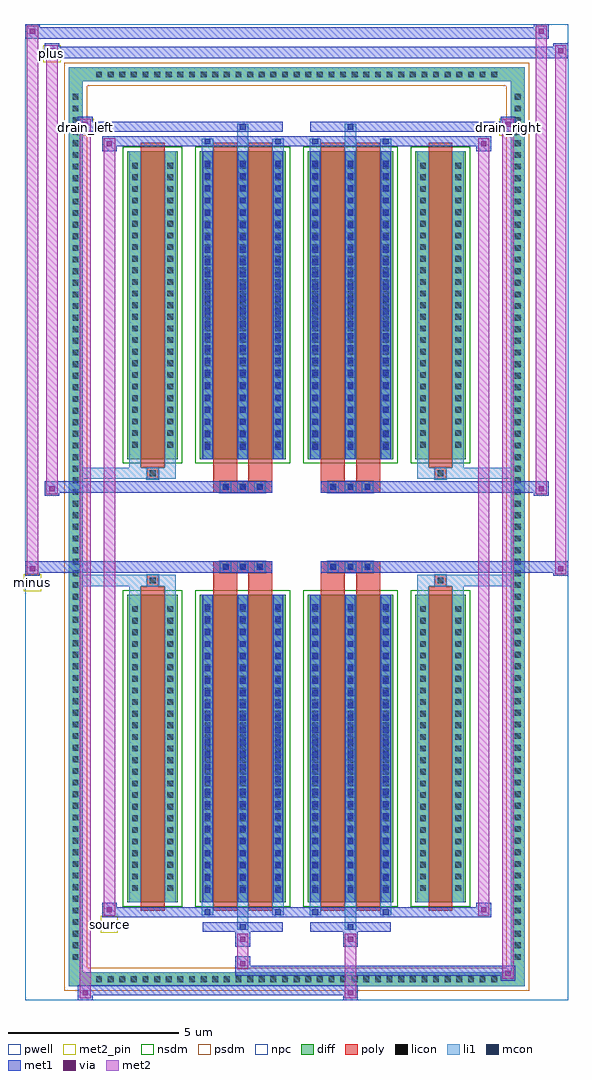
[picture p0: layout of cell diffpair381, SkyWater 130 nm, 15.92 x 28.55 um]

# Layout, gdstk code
import gdstk
lib = gdstk.Library(unit=1e-6, precision=5e-09)
def R(c, l, rs):  # rectangles x0, y0, x1, y1
    for r in rs: c.add(gdstk.rectangle(r[:2], r[2:], *l))
def A(c, l, x, y, w, h, nx, ny, dx, dy):  # array of equal rectangles
    R(c, l, [(x+i*dx, y+j*dy, x+i*dx+w, y+j*dy+h) for i in range(nx) for j in range(ny)])
def P(c, l, *ps):  # polygons
    for p in ps: c.add(gdstk.Polygon(p, *l))
pwell = (64, 44)
diff = (65, 20)
poly = (66, 20)
licon = (66, 44)
li1 = (67, 20)
mcon = (67, 44)
met1 = (68, 20)
via = (68, 44)
met2_pin = (69, 16)
met2 = (69, 20)
nsdm = (93, 44)
psdm = (94, 20)
npc = (95, 20)

diffpair381 = lib.new_cell('diffpair381')
R(diffpair381, pwell, [(-7.94,-13.84,7.94,14.71), (-5.26,-12.03,-0.01,-0.805), (0.01,-12.03,5.26,-0.805), (-5.26,0.805,-0.01,12.03), (0.01,0.805,5.26,12.03)])
A(diffpair381, diff, -5.985, -13.44, 0.41, 0.41, 35, 2, 0.34, 26.47)
A(diffpair381, diff, -6.67, -12.785, 0.41, 0.41, 1, 75, 0, 0.34)
A(diffpair381, diff, 6.26, -12.785, 0.41, 0.41, 1, 75, 0, 0.34)
R(diffpair381, diff, [(-5.985,-13.44,5.985,-13.03), (-6.67,-12.785,-6.26,12.785), (6.26,-12.785,6.67,12.785), (-4.95,-10.985,-3.47,-1.985), (-2.83,-10.985,-0.32,-1.985), (0.32,-10.985,2.83,-1.985), (3.47,-10.985,4.95,-1.985), (-4.95,1.985,-3.47,10.985), (-2.83,1.985,-0.32,10.985), (0.32,1.985,2.83,10.985), (3.47,1.985,4.95,10.985), (-5.985,13.03,5.985,13.44)])
P(diffpair381, diff, [(6.67,13.44),(-6.67,13.44),(-6.67,-13.03),(-6.26,-13.03),(-6.26,13.03),(6.26,13.03),(6.26,-13.03),(-6.26,-13.03),(-6.67,-13.03),(-6.67,-13.44),(6.67,-13.44)])
A(diffpair381, poly, -2.24, -1.335, 0.33, 0.33, 3, 2, 0.5, 2.34)
A(diffpair381, poly, 0.91, -1.335, 0.33, 0.33, 3, 2, 0.5, 2.34)
R(diffpair381, poly, [(-4.56,-11.235,-3.86,-1.735), (-2.44,-11.235,-1.74,-1.735), (-1.41,-11.235,-0.71,-1.735), (0.71,-11.235,1.41,-1.735), (1.74,-11.235,2.44,-1.735), (3.86,-11.235,4.56,-1.735), (-4.375,-1.735,-4.045,-1.405), (-4.375,-1.735,-4.045,-1.405), (-2.44,-1.735,-1.74,-1.335), (-1.41,-1.735,-0.71,-1.335), (0.71,-1.735,1.41,-1.335), (1.74,-1.735,2.44,-1.335), (4.045,-1.735,4.375,-1.405), (4.045,-1.735,4.375,-1.405), (-2.44,-1.335,-0.71,-1.005), (0.71,-1.335,2.44,-1.005), (-2.44,1.005,-0.71,1.335), (0.71,1.005,2.44,1.335), (-2.44,1.335,-1.74,1.735), (-1.41,1.335,-0.71,1.735), (0.71,1.335,1.41,1.735), (1.74,1.335,2.44,1.735), (-4.375,1.405,-4.045,1.735), (-4.375,1.405,-4.045,1.735), (4.045,1.405,4.375,1.735), (4.045,1.405,4.375,1.735), (-4.56,1.735,-3.86,11.235), (-2.44,1.735,-1.74,11.235), (-1.41,1.735,-0.71,11.235), (0.71,1.735,1.41,11.235), (1.74,1.735,2.44,11.235), (3.86,1.735,4.56,11.235)])
A(diffpair381, licon, -5.865, -13.32, 0.17, 0.17, 35, 2, 0.34, 26.47)
A(diffpair381, licon, -6.55, -12.665, 0.17, 0.17, 1, 75, 0, 0.34)
A(diffpair381, licon, 6.38, -12.665, 0.17, 0.17, 1, 75, 0, 0.34)
A(diffpair381, licon, -4.81, -10.65, 0.17, 0.17, 1, 25, 0, 0.34)
A(diffpair381, licon, -3.78, -10.65, 0.17, 0.17, 1, 25, 0, 0.34)
A(diffpair381, licon, -2.69, -10.65, 0.17, 0.17, 3, 25, 1.03, 0.34)
A(diffpair381, licon, 0.46, -10.65, 0.17, 0.17, 3, 25, 1.03, 0.34)
A(diffpair381, licon, 3.61, -10.65, 0.17, 0.17, 1, 25, 0, 0.34)
A(diffpair381, licon, 4.64, -10.65, 0.17, 0.17, 1, 25, 0, 0.34)
A(diffpair381, licon, -2.16, -1.255, 0.17, 0.17, 3, 2, 0.5, 2.34)
A(diffpair381, licon, 0.99, -1.255, 0.17, 0.17, 3, 2, 0.5, 2.34)
A(diffpair381, licon, -4.81, 2.32, 0.17, 0.17, 1, 25, 0, 0.34)
A(diffpair381, licon, -3.78, 2.32, 0.17, 0.17, 1, 25, 0, 0.34)
A(diffpair381, licon, -2.69, 2.32, 0.17, 0.17, 3, 25, 1.03, 0.34)
A(diffpair381, licon, 0.46, 2.32, 0.17, 0.17, 3, 25, 1.03, 0.34)
A(diffpair381, licon, 3.61, 2.32, 0.17, 0.17, 1, 25, 0, 0.34)
A(diffpair381, licon, 4.64, 2.32, 0.17, 0.17, 1, 25, 0, 0.34)
R(diffpair381, licon, [(-4.295,-1.655,-4.125,-1.485), (4.125,-1.655,4.295,-1.485), (-4.295,1.485,-4.125,1.655), (4.125,1.485,4.295,1.655)])
A(diffpair381, li1, -5.945, -13.4, 0.33, 0.33, 35, 2, 0.34, 26.47)
A(diffpair381, li1, -6.63, -12.745, 0.33, 0.33, 1, 75, 0, 0.34)
A(diffpair381, li1, 6.3, -12.745, 0.33, 0.33, 1, 75, 0, 0.34)
A(diffpair381, li1, -2.77, -10.985, 0.33, 9, 3, 2, 1.03, 12.97)
A(diffpair381, li1, 0.38, -10.985, 0.33, 9, 3, 2, 1.03, 12.97)
A(diffpair381, li1, -4.89, -10.73, 0.33, 0.33, 1, 25, 0, 0.34)
A(diffpair381, li1, -3.86, -10.73, 0.33, 0.33, 1, 25, 0, 0.34)
A(diffpair381, li1, -2.77, -10.73, 0.33, 0.33, 3, 25, 1.03, 0.34)
A(diffpair381, li1, 0.38, -10.73, 0.33, 0.33, 3, 25, 1.03, 0.34)
A(diffpair381, li1, 3.53, -10.73, 0.33, 0.33, 1, 25, 0, 0.34)
A(diffpair381, li1, 4.56, -10.73, 0.33, 0.33, 1, 25, 0, 0.34)
A(diffpair381, li1, -2.69, -10.71, 0.17, 0.17, 3, 24, 1.03, 0.36)
A(diffpair381, li1, -2.69, -10.71, 0.17, 8.45, 3, 2, 1.03, 12.97)
A(diffpair381, li1, 0.46, -10.71, 0.17, 0.17, 3, 24, 1.03, 0.36)
A(diffpair381, li1, 0.46, -10.71, 0.17, 8.45, 3, 2, 1.03, 12.97)
A(diffpair381, li1, -2.24, -1.335, 0.33, 0.33, 3, 2, 0.5, 2.34)
A(diffpair381, li1, 0.91, -1.335, 0.33, 0.33, 3, 2, 0.5, 2.34)
A(diffpair381, li1, -4.89, 2.24, 0.33, 0.33, 1, 25, 0, 0.34)
A(diffpair381, li1, -3.86, 2.24, 0.33, 0.33, 1, 25, 0, 0.34)
A(diffpair381, li1, -2.77, 2.24, 0.33, 0.33, 3, 25, 1.03, 0.34)
A(diffpair381, li1, 0.38, 2.24, 0.33, 0.33, 3, 25, 1.03, 0.34)
A(diffpair381, li1, 3.53, 2.24, 0.33, 0.33, 1, 25, 0, 0.34)
A(diffpair381, li1, 4.56, 2.24, 0.33, 0.33, 1, 25, 0, 0.34)
A(diffpair381, li1, -2.69, 2.26, 0.17, 0.17, 3, 24, 1.03, 0.36)
A(diffpair381, li1, 0.46, 2.26, 0.17, 0.17, 3, 24, 1.03, 0.36)
R(diffpair381, li1, [(-6.67,-13.44,-6.26,-13.03), (-6.67,-13.44,-6.26,-13.03), (-6.26,-13.44,6.26,-13.03), (6.26,-13.44,6.67,-13.03), (6.26,-13.44,6.67,-13.03), (-6.67,-13.03,-6.26,13.03), (6.26,-13.03,6.67,13.03), (-1.74,-11.79,-1.41,-10.985), (-1.66,-11.79,-1.49,-11.62), (1.41,-11.79,1.74,-10.985), (1.49,-11.79,1.66,-11.62), (-2.77,-11.36,-2.44,-10.985), (-2.69,-11.36,-2.52,-11.19), (-0.71,-11.36,-0.38,-10.985), (-0.63,-11.36,-0.46,-11.19), (0.38,-11.36,0.71,-10.985), (0.46,-11.36,0.63,-11.19), (2.44,-11.36,2.77,-10.985), (2.52,-11.36,2.69,-11.19), (-4.89,-10.985,-4.56,-1.985), (-3.86,-10.985,-3.53,-1.985), (3.53,-10.985,3.86,-1.985), (4.56,-10.985,4.89,-1.985), (-4.89,-1.985,-4.56,-1.405), (-3.86,-1.985,-3.53,-1.405), (3.53,-1.985,3.86,-1.405), (4.56,-1.985,4.89,-1.405), (-6.67,-1.735,-4.375,-1.405), (-4.89,-1.735,-4.375,-1.405), (-4.375,-1.735,-4.045,-1.405), (-4.045,-1.735,-3.53,-1.405), (3.53,-1.735,4.045,-1.405), (4.045,-1.735,4.375,-1.405), (4.045,-1.735,6.67,-1.405), (4.375,-1.735,4.89,-1.405), (-6.67,1.405,-4.375,1.735), (-4.89,1.405,-4.375,1.735), (-4.89,1.405,-4.56,1.985), (-4.375,1.405,-4.045,1.735), (-4.045,1.405,-3.53,1.735), (-3.86,1.405,-3.53,1.985), (3.53,1.405,4.045,1.735), (3.53,1.405,3.86,1.985), (4.045,1.405,4.375,1.735), (4.045,1.405,6.67,1.735), (4.375,1.405,4.89,1.735), (4.56,1.405,4.89,1.985), (-4.89,1.985,-4.56,10.985), (-3.86,1.985,-3.53,10.985), (3.53,1.985,3.86,10.985), (4.56,1.985,4.89,10.985), (-2.77,10.985,-2.44,11.36), (-1.74,10.985,-1.41,11.79), (-0.71,10.985,-0.38,11.36), (0.38,10.985,0.71,11.36), (1.41,10.985,1.74,11.79), (2.44,10.985,2.77,11.36), (-2.69,11.19,-2.52,11.36), (-0.63,11.19,-0.46,11.36), (0.46,11.19,0.63,11.36), (2.52,11.19,2.69,11.36), (-1.66,11.62,-1.49,11.79), (1.49,11.62,1.66,11.79), (-6.67,13.03,-6.26,13.44), (-6.67,13.03,-6.26,13.44), (-6.26,13.03,6.26,13.44), (6.26,13.03,6.67,13.44), (6.26,13.03,6.67,13.44)])
A(diffpair381, mcon, -2.69, -10.71, 0.17, 0.17, 3, 24, 1.03, 0.36)
A(diffpair381, mcon, 0.46, -10.71, 0.17, 0.17, 3, 24, 1.03, 0.36)
A(diffpair381, mcon, -2.16, -1.255, 0.17, 0.17, 3, 2, 0.5, 2.34)
A(diffpair381, mcon, 0.99, -1.255, 0.17, 0.17, 3, 2, 0.5, 2.34)
A(diffpair381, mcon, -2.69, 2.26, 0.17, 0.17, 3, 24, 1.03, 0.36)
A(diffpair381, mcon, 0.46, 2.26, 0.17, 0.17, 3, 24, 1.03, 0.36)
R(diffpair381, mcon, [(-1.66,-11.79,-1.49,-11.62), (1.49,-11.79,1.66,-11.62), (-2.69,-11.36,-2.52,-11.19), (-0.63,-11.36,-0.46,-11.19), (0.46,-11.36,0.63,-11.19), (2.52,-11.36,2.69,-11.19), (-2.69,11.19,-2.52,11.36), (-0.63,11.19,-0.46,11.36), (0.46,11.19,0.63,11.36), (2.52,11.19,2.69,11.36), (-1.66,11.62,-1.49,11.79), (1.49,11.62,1.66,11.79)])
A(diffpair381, met1, -2.75, -10.985, 0.29, 9, 3, 2, 1.03, 12.97)
A(diffpair381, met1, 0.4, -10.985, 0.29, 9, 3, 2, 1.03, 12.97)
A(diffpair381, met1, -2.75, -10.77, 0.29, 0.29, 3, 24, 1.03, 0.36)
A(diffpair381, met1, 0.4, -10.77, 0.29, 0.29, 3, 24, 1.03, 0.36)
A(diffpair381, met1, -2.22, -1.315, 0.29, 0.29, 3, 2, 0.5, 2.34)
A(diffpair381, met1, 0.93, -1.315, 0.29, 0.29, 3, 2, 0.5, 2.34)
A(diffpair381, met1, -2.75, 2.2, 0.29, 0.29, 3, 24, 1.03, 0.36)
A(diffpair381, met1, 0.4, 2.2, 0.29, 0.29, 3, 24, 1.03, 0.36)
R(diffpair381, met1, [(-6.4,-13.84,-5.97,-13.41), (1.36,-13.84,1.79,-13.41), (-6.4,-13.7,1.79,-13.41), (5.97,-13.27,6.4,-12.84), (-1.79,-13.13,6.4,-12.84), (-1.79,-12.99,-1.36,-12.56), (-1.79,-12.28,-1.36,-11.85), (1.36,-12.28,1.79,-11.85), (-2.75,-11.85,-0.4,-11.56), (-1.72,-11.85,-1.43,-11.56), (0.4,-11.85,2.75,-11.56), (1.43,-11.85,1.72,-11.56), (-5.69,-11.42,-5.26,-10.99), (-5.69,-11.42,-2.75,-11.13), (-2.75,-11.42,-2.46,-11.13), (-2.75,-11.42,-0.4,-11.13), (-0.69,-11.42,-0.4,-11.13), (-0.4,-11.42,0.4,-11.13), (0.4,-11.42,0.69,-11.13), (0.4,-11.42,2.75,-11.13), (2.46,-11.42,2.75,-11.13), (2.75,-11.42,5.69,-11.13), (5.26,-11.42,5.69,-10.99), (-7.94,-1.435,-7.51,-1.005), (7.51,-1.435,7.94,-1.005), (-7.94,-1.335,-0.71,-1.005), (-2.44,-1.335,-0.71,-1.005), (0.71,-1.335,2.44,-1.005), (0.71,-1.335,7.94,-1.005), (-7.37,0.905,-6.94,1.335), (6.94,0.905,7.37,1.335), (-7.37,1.005,-2.44,1.335), (-2.44,1.005,-0.71,1.335), (0.71,1.005,2.44,1.335), (2.44,1.005,7.37,1.335), (-5.69,10.99,-5.26,11.42), (5.26,10.99,5.69,11.42), (-5.69,11.13,-2.75,11.42), (-2.75,11.13,-2.46,11.42), (-2.75,11.13,-0.4,11.42), (-0.69,11.13,-0.4,11.42), (-0.4,11.13,0.4,11.42), (0.4,11.13,0.69,11.42), (0.4,11.13,2.75,11.42), (2.46,11.13,2.75,11.42), (2.75,11.13,5.69,11.42), (-6.4,11.56,-5.97,11.99), (-6.4,11.56,-2.75,11.85), (-2.75,11.56,-0.4,11.85), (-1.72,11.56,-1.43,11.85), (0.4,11.56,2.75,11.85), (1.43,11.56,1.72,11.85), (2.75,11.56,6.4,11.85), (5.97,11.56,6.4,11.99), (-7.37,13.71,-6.94,14.14), (-7.37,13.71,-5.26,14.04), (-5.26,13.71,5.26,14.04), (5.26,13.71,7.94,14.04), (7.51,13.71,7.94,14.14), (-7.94,14.28,-7.51,14.71), (-7.94,14.28,-5.26,14.61), (-5.26,14.28,5.26,14.61), (5.26,14.28,7.37,14.61), (6.94,14.28,7.37,14.71)])
R(diffpair381, via, [(-6.26,-13.7,-6.11,-13.55), (1.5,-13.7,1.65,-13.55), (6.11,-13.13,6.26,-12.98), (-1.65,-12.85,-1.5,-12.7), (-1.65,-12.14,-1.5,-11.99), (1.5,-12.14,1.65,-11.99), (-5.55,-11.28,-5.4,-11.13), (5.4,-11.28,5.55,-11.13), (-7.8,-1.295,-7.65,-1.145), (7.65,-1.295,7.8,-1.145), (-7.23,1.045,-7.08,1.195), (7.08,1.045,7.23,1.195), (-5.55,11.13,-5.4,11.28), (5.4,11.13,5.55,11.28), (-6.26,11.7,-6.11,11.85), (6.11,11.7,6.26,11.85), (-7.23,13.85,-7.08,14), (7.65,13.85,7.8,14), (-7.8,14.42,-7.65,14.57), (7.08,14.42,7.23,14.57)])
R(diffpair381, met2_pin, [(-5.725,-11.87,-5.225,-11.37), (-7.975,-1.885,-7.475,-1.385), (-6.435,11.44,-5.935,11.94), (5.935,11.44,6.435,11.94), (-7.405,13.59,-6.905,14.09)])
R(diffpair381, met2, [(-6.35,-13.79,-6.02,-13.46), (-6.35,-13.79,-6.02,11.94), (1.41,-13.79,1.74,-13.46), (1.41,-13.46,1.74,-12.23), (6.02,-13.22,6.35,-12.89), (6.02,-13.22,6.35,11.94), (-1.74,-12.94,-1.41,-12.61), (-1.74,-12.61,-1.41,-12.23), (-1.74,-12.23,-1.41,-11.9), (1.41,-12.23,1.74,-11.9), (-5.64,-11.37,-5.31,-11.04), (-5.64,-11.37,-5.31,11.37), (5.31,-11.37,5.64,-11.04), (5.31,-11.37,5.64,11.37), (-7.89,-1.385,-7.56,-1.055), (-7.89,-1.385,-7.56,14.66), (7.56,-1.385,7.89,-1.055), (7.56,-1.385,7.89,14.09), (-7.32,0.955,-6.99,1.285), (-7.32,0.955,-6.99,14.09), (6.99,0.955,7.32,1.285), (6.99,0.955,7.32,14.66), (-5.64,11.04,-5.31,11.37), (5.31,11.04,5.64,11.37), (-6.35,11.61,-6.02,11.94), (6.02,11.61,6.35,11.94), (-7.32,13.76,-6.99,14.09), (7.56,13.76,7.89,14.09), (-7.89,14.33,-7.56,14.66), (6.99,14.33,7.32,14.66)])
P(diffpair381, met2, [(7.89,-1.385),(7.89,-1.385),(7.89,-1.055),(7.89,-1.055)],
  [(7.89,13.76),(7.89,13.76),(7.89,14.09),(7.89,14.09)],
  [(-7.56,-1.385),(-7.56,-1.385),(-7.56,-1.055),(-7.56,-1.055)],
  [(-7.56,14.33),(-7.56,14.33),(-7.56,14.66),(-7.56,14.66)],
  [(7.32,0.955),(7.32,0.955),(7.32,1.285),(7.32,1.285)],
  [(7.32,14.33),(7.32,14.33),(7.32,14.66),(7.32,14.66)],
  [(-6.99,0.955),(-6.99,0.955),(-6.99,1.285),(-6.99,1.285)],
  [(-6.99,13.76),(-6.99,13.76),(-6.99,14.09),(-6.99,14.09)],
  [(-6.02,-13.79),(-6.02,-13.79),(-6.02,-13.46),(-6.02,-13.46)],
  [(-6.02,11.61),(-6.02,11.61),(-6.02,11.94),(-6.02,11.94)],
  [(6.35,-13.22),(6.35,-13.22),(6.35,-12.89),(6.35,-12.89)],
  [(6.35,11.61),(6.35,11.61),(6.35,11.94),(6.35,11.94)],
  [(-5.31,-11.37),(-5.31,-11.37),(-5.31,-11.04),(-5.31,-11.04)],
  [(-5.31,11.04),(-5.31,11.04),(-5.31,11.37),(-5.31,11.37)],
  [(5.64,-11.37),(5.64,-11.37),(5.64,-11.04),(5.64,-11.04)],
  [(5.64,11.04),(5.64,11.04),(5.64,11.37),(5.64,11.37)])
R(diffpair381, nsdm, [(-5.08,-11.115,-3.34,-1.855), (-2.96,-11.115,-0.19,-1.855), (0.19,-11.115,2.96,-1.855), (3.34,-11.115,5.08,-1.855), (-5.08,1.855,-3.34,11.115), (-2.96,1.855,-0.19,11.115), (0.19,1.855,2.96,11.115), (3.34,1.855,5.08,11.115)])
P(diffpair381, psdm, [(6.8,13.57),(-6.8,13.57),(-6.8,-12.9),(-6.13,-12.9),(-6.13,12.9),(6.13,12.9),(6.13,-12.9),(-6.13,-12.9),(-6.8,-12.9),(-6.8,-13.57),(6.8,-13.57)])
A(diffpair381, npc, -2.26, -1.355, 0.37, 0.37, 3, 2, 0.5, 2.34)
A(diffpair381, npc, 0.89, -1.355, 0.37, 0.37, 3, 2, 0.5, 2.34)
R(diffpair381, npc, [(-4.395,-1.755,-4.025,-1.385), (4.025,-1.755,4.395,-1.385), (-2.26,-1.355,-1.39,-0.985), (-2.26,-1.355,-1.39,-0.985), (-1.76,-1.355,-0.89,-0.985), (-1.76,-1.355,-0.89,-0.985), (0.89,-1.355,1.76,-0.985), (0.89,-1.355,1.76,-0.985), (1.39,-1.355,2.26,-0.985), (1.39,-1.355,2.26,-0.985), (-2.26,0.985,-1.39,1.355), (-2.26,0.985,-1.39,1.355), (-1.76,0.985,-0.89,1.355), (-1.76,0.985,-0.89,1.355), (0.89,0.985,1.76,1.355), (0.89,0.985,1.76,1.355), (1.39,0.985,2.26,1.355), (1.39,0.985,2.26,1.355), (-4.395,1.385,-4.025,1.755), (4.025,1.385,4.395,1.755)])
diffpair381.add(gdstk.Label('minus', (-7.725,-1.635), layer=69, texttype=5))
diffpair381.add(gdstk.Label('drain_right', (6.185,11.69), layer=69, texttype=5))
diffpair381.add(gdstk.Label('drain_left', (-6.185,11.69), layer=69, texttype=5))
diffpair381.add(gdstk.Label('source', (-5.475,-11.62), layer=69, texttype=5))
diffpair381.add(gdstk.Label('plus', (-7.155,13.84), layer=69, texttype=5))

lib.write_gds('diffpair381.gds')
